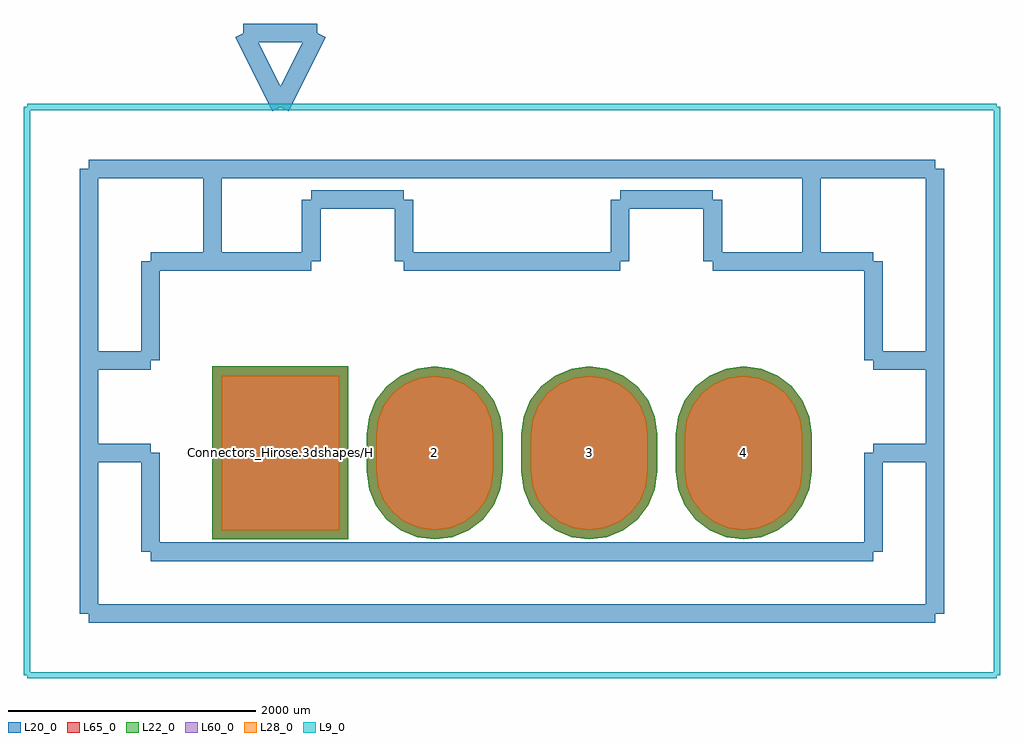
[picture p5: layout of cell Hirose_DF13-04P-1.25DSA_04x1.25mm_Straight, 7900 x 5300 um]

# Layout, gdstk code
import gdstk
lib = gdstk.Library(unit=1e-6, precision=1e-09)
def R(c, l, rs):  # rectangles x0, y0, x1, y1
    for r in rs: c.add(gdstk.rectangle(r[:2], r[2:], *l))
def P(c, l, *ps):  # polygons
    for p in ps: c.add(gdstk.Polygon(p, *l))
L9_0 = (9, 0)
L20_0 = (20, 0)
L22_0 = (22, 0)
L28_0 = (28, 0)
L60_0 = (60, 0)
L65_0 = (65, 0)

hirose_df13_04p_1_25dsa_ = lib.new_cell('Hirose_DF13-04P-1.25DSA_04x1.25mm_Straight')
R(hirose_df13_04p_1_25dsa_, L22_0, [(-550,-700,550,700)])
P(hirose_df13_04p_1_25dsa_, L22_0, [(3750,-700),(3892.35,-681.259),(4025,-626.314),(4138.909,-538.909),(4226.314,-425),(4281.259,-292.35),(4300,-150),(4300,150),(4281.259,292.35),(4226.314,425),(4138.909,538.909),(4025,626.314),(3892.35,681.259),(3750,700),(3607.65,681.259),(3475,626.314),(3361.091,538.909),(3273.686,425),(3218.741,292.35),(3200,150),(3200,-150),(3218.741,-292.35),(3273.686,-425),(3361.091,-538.909),(3475,-626.314),(3607.65,-681.259)],
  [(2500,-700),(2642.35,-681.259),(2775,-626.314),(2888.909,-538.909),(2976.314,-425),(3031.259,-292.35),(3050,-150),(3050,150),(3031.259,292.35),(2976.314,425),(2888.909,538.909),(2775,626.314),(2642.35,681.259),(2500,700),(2357.65,681.259),(2225,626.314),(2111.091,538.909),(2023.686,425),(1968.741,292.35),(1950,150),(1950,-150),(1968.741,-292.35),(2023.686,-425),(2111.091,-538.909),(2225,-626.314),(2357.65,-681.259)],
  [(1250,-700),(1392.35,-681.259),(1525,-626.314),(1638.909,-538.909),(1726.314,-425),(1781.259,-292.35),(1800,-150),(1800,150),(1781.259,292.35),(1726.314,425),(1638.909,538.909),(1525,626.314),(1392.35,681.259),(1250,700),(1107.65,681.259),(975,626.314),(861.091,538.909),(773.686,425),(718.741,292.35),(700,150),(700,-150),(718.741,-292.35),(773.686,-425),(861.091,-538.909),(975,-626.314),(1107.65,-681.259)])
R(hirose_df13_04p_1_25dsa_, L28_0, [(-475,-625,475,625)])
P(hirose_df13_04p_1_25dsa_, L28_0, [(3750,-625),(3872.939,-608.815),(3987.5,-561.362),(4085.876,-485.876),(4161.362,-387.5),(4208.815,-272.939),(4225,-150),(4225,150),(4208.815,272.939),(4161.362,387.5),(4085.876,485.876),(3987.5,561.362),(3872.939,608.815),(3750,625),(3627.061,608.815),(3512.5,561.362),(3414.124,485.876),(3338.638,387.5),(3291.185,272.939),(3275,150),(3275,-150),(3291.185,-272.939),(3338.638,-387.5),(3414.124,-485.876),(3512.5,-561.362),(3627.061,-608.815)],
  [(2500,-625),(2622.939,-608.815),(2737.5,-561.362),(2835.876,-485.876),(2911.362,-387.5),(2958.815,-272.939),(2975,-150),(2975,150),(2958.815,272.939),(2911.362,387.5),(2835.876,485.876),(2737.5,561.362),(2622.939,608.815),(2500,625),(2377.061,608.815),(2262.5,561.362),(2164.124,485.876),(2088.638,387.5),(2041.185,272.939),(2025,150),(2025,-150),(2041.185,-272.939),(2088.638,-387.5),(2164.124,-485.876),(2262.5,-561.362),(2377.061,-608.815)],
  [(1250,-625),(1372.939,-608.815),(1487.5,-561.362),(1585.876,-485.876),(1661.362,-387.5),(1708.815,-272.939),(1725,-150),(1725,150),(1708.815,272.939),(1661.362,387.5),(1585.876,485.876),(1487.5,561.362),(1372.939,608.815),(1250,625),(1127.061,608.815),(1012.5,561.362),(914.124,485.876),(838.638,387.5),(791.185,272.939),(775,150),(775,-150),(791.185,-272.939),(838.638,-387.5),(914.124,-485.876),(1012.5,-561.362),(1127.061,-608.815)])
R(hirose_df13_04p_1_25dsa_, L60_0, [(-475,-625,475,625)])
P(hirose_df13_04p_1_25dsa_, L60_0, [(3750,-625),(3872.939,-608.815),(3987.5,-561.362),(4085.876,-485.876),(4161.362,-387.5),(4208.815,-272.939),(4225,-150),(4225,150),(4208.815,272.939),(4161.362,387.5),(4085.876,485.876),(3987.5,561.362),(3872.939,608.815),(3750,625),(3627.061,608.815),(3512.5,561.362),(3414.124,485.876),(3338.638,387.5),(3291.185,272.939),(3275,150),(3275,-150),(3291.185,-272.939),(3338.638,-387.5),(3414.124,-485.876),(3512.5,-561.362),(3627.061,-608.815)],
  [(2500,-625),(2622.939,-608.815),(2737.5,-561.362),(2835.876,-485.876),(2911.362,-387.5),(2958.815,-272.939),(2975,-150),(2975,150),(2958.815,272.939),(2911.362,387.5),(2835.876,485.876),(2737.5,561.362),(2622.939,608.815),(2500,625),(2377.061,608.815),(2262.5,561.362),(2164.124,485.876),(2088.638,387.5),(2041.185,272.939),(2025,150),(2025,-150),(2041.185,-272.939),(2088.638,-387.5),(2164.124,-485.876),(2262.5,-561.362),(2377.061,-608.815)],
  [(1250,-625),(1372.939,-608.815),(1487.5,-561.362),(1585.876,-485.876),(1661.362,-387.5),(1708.815,-272.939),(1725,-150),(1725,150),(1708.815,272.939),(1661.362,387.5),(1585.876,485.876),(1487.5,561.362),(1372.939,608.815),(1250,625),(1127.061,608.815),(1012.5,561.362),(914.124,485.876),(838.638,387.5),(791.185,272.939),(775,150),(775,-150),(791.185,-272.939),(838.638,-387.5),(914.124,-485.876),(1012.5,-561.362),(1127.061,-608.815)])
R(hirose_df13_04p_1_25dsa_, L65_0, [(-550,-700,550,700)])
P(hirose_df13_04p_1_25dsa_, L65_0, [(3750,-700),(3892.35,-681.259),(4025,-626.314),(4138.909,-538.909),(4226.314,-425),(4281.259,-292.35),(4300,-150),(4300,150),(4281.259,292.35),(4226.314,425),(4138.909,538.909),(4025,626.314),(3892.35,681.259),(3750,700),(3607.65,681.259),(3475,626.314),(3361.091,538.909),(3273.686,425),(3218.741,292.35),(3200,150),(3200,-150),(3218.741,-292.35),(3273.686,-425),(3361.091,-538.909),(3475,-626.314),(3607.65,-681.259)],
  [(2500,-700),(2642.35,-681.259),(2775,-626.314),(2888.909,-538.909),(2976.314,-425),(3031.259,-292.35),(3050,-150),(3050,150),(3031.259,292.35),(2976.314,425),(2888.909,538.909),(2775,626.314),(2642.35,681.259),(2500,700),(2357.65,681.259),(2225,626.314),(2111.091,538.909),(2023.686,425),(1968.741,292.35),(1950,150),(1950,-150),(1968.741,-292.35),(2023.686,-425),(2111.091,-538.909),(2225,-626.314),(2357.65,-681.259)],
  [(1250,-700),(1392.35,-681.259),(1525,-626.314),(1638.909,-538.909),(1726.314,-425),(1781.259,-292.35),(1800,-150),(1800,150),(1781.259,292.35),(1726.314,425),(1638.909,538.909),(1525,626.314),(1392.35,681.259),(1250,700),(1107.65,681.259),(975,626.314),(861.091,538.909),(773.686,425),(718.741,292.35),(700,150),(700,-150),(718.741,-292.35),(773.686,-425),(861.091,-538.909),(975,-626.314),(1107.65,-681.259)])
hirose_df13_04p_1_25dsa_.add(gdstk.FlexPath([(5800,2800),(-2050,2800)], 50, ends="flush", simple_path=True, layer=9, datatype=0))  # L9_0
hirose_df13_04p_1_25dsa_.add(gdstk.FlexPath([(5800,-1800),(5800,2800)], 50, ends="flush", simple_path=True, layer=9, datatype=0))  # L9_0
hirose_df13_04p_1_25dsa_.add(gdstk.FlexPath([(-2050,-1800),(5800,-1800)], 50, ends="flush", simple_path=True, layer=9, datatype=0))  # L9_0
hirose_df13_04p_1_25dsa_.add(gdstk.FlexPath([(-2050,2800),(-2050,-1800)], 50, ends="flush", simple_path=True, layer=9, datatype=0))  # L9_0
hirose_df13_04p_1_25dsa_.add(gdstk.FlexPath([(3500,1550),(4300,1550)], 149.998, ends="flush", simple_path=True, layer=20, datatype=0))  # L20_0
hirose_df13_04p_1_25dsa_.add(gdstk.FlexPath([(3500,2050),(3500,1550)], 149.998, ends="flush", simple_path=True, layer=20, datatype=0))  # L20_0
hirose_df13_04p_1_25dsa_.add(gdstk.FlexPath([(2750,2050),(3500,2050)], 149.998, ends="flush", simple_path=True, layer=20, datatype=0))  # L20_0
hirose_df13_04p_1_25dsa_.add(gdstk.FlexPath([(2750,1550),(2750,2050)], 149.998, ends="flush", simple_path=True, layer=20, datatype=0))  # L20_0
hirose_df13_04p_1_25dsa_.add(gdstk.FlexPath([(1000,1550),(2750,1550)], 149.998, ends="flush", simple_path=True, layer=20, datatype=0))  # L20_0
hirose_df13_04p_1_25dsa_.add(gdstk.FlexPath([(1000,2050),(1000,1550)], 149.998, ends="flush", simple_path=True, layer=20, datatype=0))  # L20_0
hirose_df13_04p_1_25dsa_.add(gdstk.FlexPath([(250,2050),(1000,2050)], 149.998, ends="flush", simple_path=True, layer=20, datatype=0))  # L20_0
hirose_df13_04p_1_25dsa_.add(gdstk.FlexPath([(250,1550),(250,2050)], 149.998, ends="flush", simple_path=True, layer=20, datatype=0))  # L20_0
hirose_df13_04p_1_25dsa_.add(gdstk.FlexPath([(-550,1550),(250,1550)], 149.998, ends="flush", simple_path=True, layer=20, datatype=0))  # L20_0
hirose_df13_04p_1_25dsa_.add(gdstk.FlexPath([(4300,1550),(4300,2300)], 149.998, ends="flush", simple_path=True, layer=20, datatype=0))  # L20_0
hirose_df13_04p_1_25dsa_.add(gdstk.FlexPath([(4800,1550),(4300,1550)], 149.998, ends="flush", simple_path=True, layer=20, datatype=0))  # L20_0
hirose_df13_04p_1_25dsa_.add(gdstk.FlexPath([(4800,750),(4800,1550)], 149.998, ends="flush", simple_path=True, layer=20, datatype=0))  # L20_0
hirose_df13_04p_1_25dsa_.add(gdstk.FlexPath([(5300,750),(4800,750)], 149.998, ends="flush", simple_path=True, layer=20, datatype=0))  # L20_0
hirose_df13_04p_1_25dsa_.add(gdstk.FlexPath([(-550,1550),(-550,2300)], 149.998, ends="flush", simple_path=True, layer=20, datatype=0))  # L20_0
hirose_df13_04p_1_25dsa_.add(gdstk.FlexPath([(-1050,1550),(-550,1550)], 149.998, ends="flush", simple_path=True, layer=20, datatype=0))  # L20_0
hirose_df13_04p_1_25dsa_.add(gdstk.FlexPath([(-1050,750),(-1050,1550)], 149.998, ends="flush", simple_path=True, layer=20, datatype=0))  # L20_0
hirose_df13_04p_1_25dsa_.add(gdstk.FlexPath([(-1550,750),(-1050,750)], 149.998, ends="flush", simple_path=True, layer=20, datatype=0))  # L20_0
hirose_df13_04p_1_25dsa_.add(gdstk.FlexPath([(4800,0),(5300,0)], 149.998, ends="flush", simple_path=True, layer=20, datatype=0))  # L20_0
hirose_df13_04p_1_25dsa_.add(gdstk.FlexPath([(4800,-800),(4800,0)], 149.998, ends="flush", simple_path=True, layer=20, datatype=0))  # L20_0
hirose_df13_04p_1_25dsa_.add(gdstk.FlexPath([(-1050,-800),(4800,-800)], 149.998, ends="flush", simple_path=True, layer=20, datatype=0))  # L20_0
hirose_df13_04p_1_25dsa_.add(gdstk.FlexPath([(-1050,0),(-1050,-800)], 149.998, ends="flush", simple_path=True, layer=20, datatype=0))  # L20_0
hirose_df13_04p_1_25dsa_.add(gdstk.FlexPath([(-1550,0),(-1050,0)], 149.998, ends="flush", simple_path=True, layer=20, datatype=0))  # L20_0
hirose_df13_04p_1_25dsa_.add(gdstk.FlexPath([(300,3400),(0,2800)], 149.998, ends="flush", simple_path=True, layer=20, datatype=0))  # L20_0
hirose_df13_04p_1_25dsa_.add(gdstk.FlexPath([(-300,3400),(300,3400)], 149.998, ends="flush", simple_path=True, layer=20, datatype=0))  # L20_0
hirose_df13_04p_1_25dsa_.add(gdstk.FlexPath([(0,2800),(-300,3400)], 149.998, ends="flush", simple_path=True, layer=20, datatype=0))  # L20_0
hirose_df13_04p_1_25dsa_.add(gdstk.FlexPath([(5300,2300),(-1550,2300)], 149.998, ends="flush", simple_path=True, layer=20, datatype=0))  # L20_0
hirose_df13_04p_1_25dsa_.add(gdstk.FlexPath([(5300,-1300),(5300,2300)], 149.998, ends="flush", simple_path=True, layer=20, datatype=0))  # L20_0
hirose_df13_04p_1_25dsa_.add(gdstk.FlexPath([(-1550,-1300),(5300,-1300)], 149.998, ends="flush", simple_path=True, layer=20, datatype=0))  # L20_0
hirose_df13_04p_1_25dsa_.add(gdstk.FlexPath([(-1550,2300),(-1550,-1300)], 149.998, ends="flush", simple_path=True, layer=20, datatype=0))  # L20_0
hirose_df13_04p_1_25dsa_.add(gdstk.Label('Connectors_Hirose.3dshapes/Hirose_DF13-04P-1.25DSA_04x1.25mm_Straight.wrl', (0,0), layer=12, texttype=0))
hirose_df13_04p_1_25dsa_.add(gdstk.Label('4', (3750,0), layer=28, texttype=0))
hirose_df13_04p_1_25dsa_.add(gdstk.Label('3', (2500,0), layer=28, texttype=0))
hirose_df13_04p_1_25dsa_.add(gdstk.Label('2', (1250,0), layer=28, texttype=0))
hirose_df13_04p_1_25dsa_.add(gdstk.Label('1', (0,0), layer=28, texttype=0))
hirose_df13_04p_1_25dsa_.add(gdstk.Label('type', (1875,-2500), layer=9, texttype=0))
hirose_df13_04p_1_25dsa_.add(gdstk.Label('devicename', (1875,4000), layer=9, texttype=0))

lib.write_gds('Hirose_DF13-04P-1.25DSA_04x1.25mm_Straight.gds')
